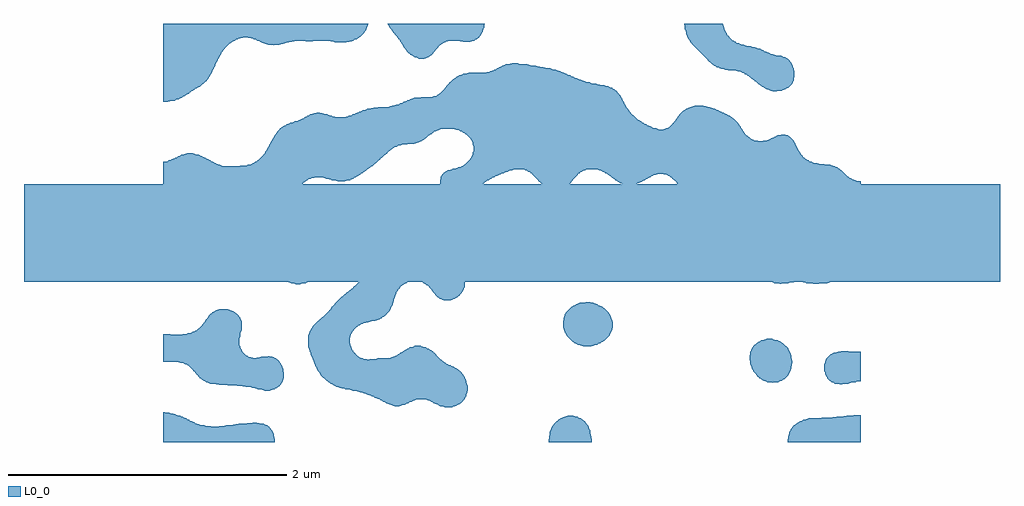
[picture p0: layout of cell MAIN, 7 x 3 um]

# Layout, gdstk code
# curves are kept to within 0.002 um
import gdstk
lib = gdstk.Library(unit=1e-6, precision=1e-09)
def R(c, l, rs):  # rectangles x0, y0, x1, y1
    for r in rs: c.add(gdstk.rectangle(r[:2], r[2:], *l))
def P(c, l, *ps):  # polygons
    for p in ps: c.add(gdstk.Polygon(p, *l))
L0_0 = (0, 0)

main = lib.new_cell('MAIN')
R(main, L0_0, [(-3.5,-0.35,3.5,0.35)])
P(main, L0_0, [(-2.47,0.942),(-2.418,0.95),(-2.37,0.969),(-2.28,1.028),(-2.24,1.05),(-2.214,1.07),(-2.19,1.093),(-2.17,1.119),(-2.14,1.177),(-2.108,1.25),(-2.085,1.29),(-2.063,1.32),(-2.04,1.345),(-2.01,1.369),(-1.98,1.387),(-1.96,1.395),(-1.92,1.403),(-1.87,1.398),(-1.84,1.388),(-1.781,1.36),(-1.748,1.35),(-1.71,1.348),(-1.674,1.35),(-1.61,1.367),(-1.55,1.378),(-1.32,1.379),(-1.27,1.369),(-1.21,1.367),(-1.168,1.37),(-1.115,1.39),(-1.084,1.41),(-1.05,1.451),(-1.03,1.5),(-2.5,1.5),(-2.5,0.94)],
  [(-0.63,1.25),(-0.6,1.26),(-0.587,1.27),(-0.52,1.342),(-0.49,1.366),(-0.47,1.374),(-0.45,1.379),(-0.42,1.38),(-0.37,1.377),(-0.341,1.37),(-0.308,1.37),(-0.27,1.38),(-0.24,1.4),(-0.22,1.427),(-0.2,1.471),(-0.196,1.5),(-0.891,1.5),(-0.881,1.48),(-0.86,1.45),(-0.803,1.38),(-0.78,1.34),(-0.74,1.29),(-0.696,1.26),(-0.666,1.25)],
  [(1.92,1.019),(1.934,1.02),(1.98,1.04),(2.009,1.07),(2.02,1.092),(2.024,1.13),(2.02,1.18),(2.014,1.19),(2.01,1.208),(2,1.224),(1.99,1.238),(1.976,1.25),(1.961,1.26),(1.932,1.27),(1.86,1.283),(1.81,1.304),(1.8,1.311),(1.79,1.313),(1.78,1.32),(1.76,1.325),(1.752,1.33),(1.64,1.353),(1.629,1.36),(1.61,1.366),(1.57,1.392),(1.545,1.42),(1.524,1.46),(1.513,1.5),(1.237,1.5),(1.24,1.462),(1.25,1.426),(1.26,1.401),(1.28,1.369),(1.416,1.23),(1.451,1.2),(1.49,1.18),(1.532,1.17),(1.6,1.166),(1.64,1.157),(1.68,1.137),(1.779,1.06),(1.828,1.03),(1.86,1.019)],
  [(-2.31,-0.087),(-2.284,-0.08),(-2.259,-0.06),(-2.24,-0.033),(-2.225,0),(-2.207,0.03),(-2.18,0.055),(-2.16,0.065),(-2.14,0.069),(-2.1,0.069),(-2.05,0.059),(-1.995,0.06),(-1.97,0.069),(-1.95,0.082),(-1.89,0.134),(-1.87,0.145),(-1.83,0.153),(-1.79,0.145),(-1.76,0.126),(-1.741,0.106),(-1.741,0.63),(-1.762,0.59),(-1.782,0.56),(-1.82,0.522),(-1.83,0.514),(-1.87,0.494),(-1.91,0.484),(-2.01,0.477),(-2.08,0.483),(-2.13,0.501),(-2.222,0.55),(-2.25,0.561),(-2.29,0.571),(-2.341,0.57),(-2.373,0.56),(-2.4,0.545),(-2.47,0.515),(-2.5,0.511),(-2.5,-0.011),(-2.48,-0.013),(-2.45,-0.023),(-2.41,-0.044),(-2.39,-0.06),(-2.356,-0.08),(-2.33,-0.087)],
  [(-1.52,-0.366),(-1.479,-0.36),(-1.447,-0.346),(-1.447,0.008),(-1.46,0.05),(-1.47,0.07),(-1.49,0.098),(-1.536,0.15),(-1.547,0.17),(-1.557,0.2),(-1.558,0.23),(-1.556,0.25),(-1.55,0.263),(-1.547,0.28),(-1.528,0.32),(-1.496,0.36),(-1.46,0.385),(-1.447,0.389),(-1.447,0.85),(-1.51,0.816),(-1.529,0.81),(-1.54,0.803),(-1.558,0.8),(-1.57,0.793),(-1.59,0.79),(-1.614,0.78),(-1.648,0.76),(-1.68,0.73),(-1.72,0.67),(-1.741,0.63),(-1.741,0.106),(-1.724,0.08),(-1.713,0.05),(-1.704,0),(-1.703,-0.06),(-1.71,-0.1),(-1.713,-0.16),(-1.71,-0.214),(-1.69,-0.267),(-1.67,-0.298),(-1.64,-0.33),(-1.609,-0.35),(-1.585,-0.36),(-1.54,-0.367)],
  [(-1.447,-0.701),(-1.45,-0.705),(-1.453,-0.72),(-1.46,-0.734),(-1.462,-0.76),(-1.46,-0.818),(-1.454,-0.83),(-1.45,-0.852),(-1.447,-0.857)],
  [(-1.2,0.371),(-1.187,0.375),(-1.187,0.833),(-1.22,0.83),(-1.27,0.832),(-1.364,0.86),(-1.416,0.86),(-1.447,0.85),(-1.447,0.389),(-1.42,0.398),(-1.37,0.399),(-1.35,0.397),(-1.292,0.38),(-1.242,0.37)],
  [(-1.44,-0.342),(-1.43,-0.34),(-1.4,-0.321),(-1.36,-0.282),(-1.351,-0.27),(-1.34,-0.246),(-1.336,-0.21),(-1.34,-0.17),(-1.347,-0.16),(-1.35,-0.148),(-1.415,-0.06),(-1.437,-0.02),(-1.44,-0.005),(-1.447,0.008),(-1.447,-0.346)],
  [(-1.187,-0.43),(-1.224,-0.46),(-1.26,-0.495),(-1.313,-0.56),(-1.342,-0.59),(-1.391,-0.63),(-1.421,-0.66),(-1.43,-0.67),(-1.447,-0.701),(-1.447,-0.857),(-1.42,-0.931),(-1.391,-0.99),(-1.361,-1.03),(-1.341,-1.05),(-1.301,-1.08),(-1.263,-1.1),(-1.236,-1.11),(-1.21,-1.114),(-1.19,-1.121),(-1.187,-1.121)],
  [(-1.18,0.377),(-1.161,0.38),(-1.119,0.4),(-1.03,0.46),(-1.01,0.477),(-1.01,0.893),(-1.038,0.89),(-1.05,0.884),(-1.071,0.88),(-1.08,0.874),(-1.142,0.85),(-1.15,0.844),(-1.187,0.833),(-1.187,0.375)],
  [(-1.01,-0.907),(-1.06,-0.905),(-1.1,-0.888),(-1.12,-0.87),(-1.144,-0.84),(-1.158,-0.81),(-1.165,-0.77),(-1.158,-0.73),(-1.147,-0.71),(-1.11,-0.671),(-1.08,-0.652),(-1.069,-0.65),(-1.06,-0.644),(-1.032,-0.64),(-1.01,-0.633),(-1.01,0.07),(-1.048,0.03),(-1.06,0.011),(-1.07,-0.017),(-1.073,-0.06),(-1.07,-0.11),(-1.065,-0.12),(-1.06,-0.152),(-1.053,-0.17),(-1.045,-0.23),(-1.053,-0.28),(-1.072,-0.32),(-1.096,-0.35),(-1.12,-0.375),(-1.187,-0.43),(-1.187,-1.121),(-1.12,-1.132),(-1.1,-1.14),(-1.05,-1.152),(-1.01,-1.168)],
  [(-1.004,0.48),(-0.86,0.604),(-0.82,0.626),(-0.761,0.638),(-0.761,0.945),(-0.81,0.924),(-0.85,0.912),(-0.91,0.902),(-0.98,0.9),(-1.01,0.893),(-1.01,0.477)],
  [(-0.99,-0.631),(-0.953,-0.62),(-0.934,-0.61),(-0.92,-0.601),(-0.89,-0.572),(-0.88,-0.56),(-0.86,-0.523),(-0.838,-0.45),(-0.819,-0.41),(-0.79,-0.378),(-0.77,-0.363),(-0.761,-0.36),(-0.761,0.072),(-0.82,0.073),(-0.86,0.082),(-0.878,0.09),(-0.93,0.096),(-0.972,0.09),(-1.01,0.07),(-1.01,-0.633)],
  [(-0.8,-1.24),(-0.761,-1.227),(-0.761,-0.836),(-0.82,-0.874),(-0.85,-0.888),(-0.88,-0.897),(-0.964,-0.9),(-1.01,-0.907),(-1.01,-1.168),(-0.97,-1.184),(-0.882,-1.23),(-0.85,-1.24)],
  [(-0.76,0.638),(-0.7,0.64),(-0.668,0.65),(-0.619,0.68),(-0.56,0.725),(-0.514,0.744),(-0.514,1.002),(-0.54,0.984),(-0.57,0.976),(-0.6,0.973),(-0.65,0.975),(-0.701,0.97),(-0.761,0.945)],
  [(-0.514,0.38),(-0.516,0.36),(-0.516,0.35),(-0.514,0.33)],
  [(-0.75,-0.353),(-0.72,-0.344),(-0.69,-0.342),(-0.64,-0.354),(-0.602,-0.38),(-0.574,-0.41),(-0.55,-0.442),(-0.532,-0.46),(-0.514,-0.472),(-0.514,0.26),(-0.526,0.22),(-0.553,0.17),(-0.57,0.15),(-0.61,0.113),(-0.65,0.093),(-0.69,0.083),(-0.761,0.072),(-0.761,-0.36)],
  [(-0.514,-0.905),(-0.581,-0.84),(-0.62,-0.819),(-0.654,-0.81),(-0.696,-0.81),(-0.732,-0.82),(-0.761,-0.836),(-0.761,-1.227),(-0.71,-1.203),(-0.68,-1.193),(-0.64,-1.191),(-0.62,-1.193),(-0.59,-1.203),(-0.514,-1.241)],
  [(-0.35,1.141),(-0.398,1.12),(-0.437,1.09),(-0.495,1.02),(-0.514,1.002),(-0.514,0.744),(-0.49,0.749),(-0.42,0.747),(-0.38,0.737),(-0.37,0.73),(-0.36,0.728),(-0.35,0.72)],
  [(-0.46,-0.482),(-0.433,-0.48),(-0.409,-0.47),(-0.38,-0.45),(-0.36,-0.428),(-0.35,-0.412),(-0.35,-0.311),(-0.37,-0.285),(-0.414,-0.24),(-0.438,-0.21),(-0.455,-0.17),(-0.458,-0.15),(-0.457,-0.12),(-0.448,-0.09),(-0.438,-0.07),(-0.426,-0.05),(-0.37,0.02),(-0.35,0.054),(-0.35,0.483),(-0.4,0.463),(-0.426,0.46),(-0.46,0.45),(-0.479,0.44),(-0.5,0.42),(-0.511,0.4),(-0.514,0.38),(-0.514,-0.472),(-0.497,-0.48)],
  [(-0.44,-1.25),(-0.401,-1.24),(-0.368,-1.22),(-0.35,-1.203),(-0.35,-1.016),(-0.37,-0.993),(-0.4,-0.97),(-0.47,-0.938),(-0.514,-0.905),(-0.514,-1.241),(-0.483,-1.25)],
  [(-0.348,0.06),(-0.33,0.102),(-0.327,0.12),(-0.32,0.136),(-0.317,0.16),(-0.31,0.175),(-0.306,0.2),(-0.288,0.25),(-0.267,0.29),(-0.244,0.32),(-0.22,0.344),(-0.16,0.386),(-0.05,0.436),(0.03,0.458),(0.07,0.458),(0.095,0.45),(0.095,1.211),(0.02,1.219),(0,1.218),(-0.044,1.21),(-0.069,1.2),(-0.08,1.192),(-0.14,1.163),(-0.17,1.154),(-0.22,1.15),(-0.302,1.15),(-0.35,1.141),(-0.35,0.72),(-0.34,0.717),(-0.33,0.709),(-0.293,0.67),(-0.283,0.65),(-0.274,0.61),(-0.275,0.59),(-0.283,0.56),(-0.292,0.54),(-0.32,0.506),(-0.35,0.483),(-0.35,0.054)],
  [(-0.349,-0.41),(-0.347,-0.4),(-0.34,-0.388),(-0.338,-0.36),(-0.339,-0.34),(-0.348,-0.32),(-0.35,-0.311),(-0.35,-0.412)],
  [(-0.348,-1.2),(-0.33,-1.174),(-0.32,-1.144),(-0.319,-1.1),(-0.33,-1.054),(-0.35,-1.016),(-0.35,-1.203)],
  [(0.33,0.31),(0.368,0.32),(0.399,0.34),(0.42,0.36),(0.46,0.408),(0.49,0.434),(0.51,0.446),(0.54,0.457),(0.56,0.459),(0.6,0.458),(0.64,0.447),(0.68,0.427),(0.742,0.38),(0.774,0.36),(0.796,0.35),(0.81,0.348),(0.81,0.924),(0.783,0.97),(0.78,0.98),(0.75,1.016),(0.72,1.039),(0.695,1.05),(0.658,1.06),(0.62,1.064),(0.603,1.07),(0.57,1.074),(0.558,1.08),(0.53,1.085),(0.522,1.09),(0.48,1.102),(0.371,1.15),(0.314,1.17),(0.274,1.18),(0.24,1.184),(0.225,1.19),(0.19,1.194),(0.172,1.2),(0.095,1.211),(0.095,0.45),(0.11,0.446),(0.14,0.427),(0.21,0.356),(0.243,0.33),(0.261,0.32),(0.295,0.31)],
  [(0.86,0.346),(0.89,0.35),(0.953,0.38),(1,0.408),(1.02,0.417),(1.05,0.425),(1.08,0.425),(1.11,0.417),(1.13,0.407),(1.167,0.377),(1.167,0.8),(1.13,0.762),(1.12,0.754),(1.1,0.746),(1.06,0.742),(1.02,0.752),(0.95,0.784),(0.89,0.823),(0.843,0.87),(0.822,0.9),(0.81,0.924),(0.81,0.348),(0.84,0.344)],
  [(1.167,0.129),(1.16,0.122),(1.14,0.112),(1.12,0.105),(1.1,0.104),(1.06,0.112),(0.993,0.14),(0.95,0.142),(0.93,0.139),(0.911,0.13),(0.9,0.121),(0.881,0.1),(0.87,0.08),(0.863,0.04),(0.87,-0.005),(0.894,-0.04),(0.918,-0.06),(0.937,-0.07),(1.05,-0.104),(1.116,-0.14),(1.159,-0.16),(1.167,-0.161)],
  [(1.8,0.659),(1.78,0.657),(1.75,0.661),(1.72,0.672),(1.7,0.685),(1.674,0.71),(1.62,0.789),(1.589,0.82),(1.561,0.84),(1.53,0.854),(1.523,0.86),(1.427,0.9),(1.41,0.902),(1.386,0.91),(1.3,0.91),(1.269,0.9),(1.235,0.88),(1.21,0.858),(1.179,0.82),(1.167,0.8),(1.167,0.377),(1.207,0.33),(1.218,0.31),(1.227,0.28),(1.229,0.25),(1.227,0.23),(1.208,0.18),(1.188,0.15),(1.167,0.129),(1.167,-0.161),(1.184,-0.17),(1.2,-0.173),(1.211,-0.18),(1.23,-0.184),(1.24,-0.19),(1.339,-0.22),(1.48,-0.232),(1.52,-0.244),(1.528,-0.25),(1.559,-0.26),(1.6,-0.264),(1.68,-0.262),(1.7,-0.265),(1.75,-0.283),(1.8,-0.314)],
  [(2.23,-0.362),(2.262,-0.36),(2.296,-0.35),(2.339,-0.33),(2.41,-0.284),(2.47,-0.263),(2.5,-0.259),(2.5,0.042),(2.48,0.053),(2.462,0.07),(2.454,0.08),(2.445,0.11),(2.445,0.12),(2.452,0.14),(2.47,0.161),(2.49,0.177),(2.5,0.18),(2.5,0.37),(2.48,0.372),(2.43,0.391),(2.4,0.411),(2.348,0.46),(2.315,0.48),(2.281,0.49),(2.21,0.494),(2.16,0.504),(2.12,0.522),(2.1,0.536),(2.076,0.56),(2.056,0.59),(2.02,0.661),(1.992,0.69),(1.976,0.7),(1.96,0.703),(1.94,0.705),(1.906,0.7),(1.83,0.664),(1.8,0.659),(1.8,-0.314),(1.838,-0.34),(1.88,-0.36),(1.93,-0.364),(1.98,-0.36),(2.01,-0.352),(2.07,-0.351),(2.1,-0.355),(2.114,-0.36),(2.16,-0.364),(2.2,-0.365)],
  [(0.59,-0.25),(0.618,-0.24),(0.633,-0.23),(0.65,-0.215),(0.67,-0.19),(0.68,-0.169),(0.687,-0.13),(0.686,-0.11),(0.68,-0.083),(0.67,-0.065),(0.65,-0.04),(0.599,0),(0.559,0.02),(0.505,0.03),(0.4,0.031),(0.336,0.04),(0.287,0.04),(0.17,0.024),(0.07,0.027),(0.018,0.02),(-0.006,0.01),(-0.047,-0.02),(-0.07,-0.05),(-0.08,-0.073),(-0.083,-0.1),(-0.081,-0.14),(-0.07,-0.166),(-0.061,-0.18),(-0.03,-0.21),(0.015,-0.23),(0.083,-0.23),(0.11,-0.221),(0.17,-0.193),(0.21,-0.184),(0.24,-0.183),(0.39,-0.203),(0.522,-0.25)],
  [(-2.02,-0.26),(-2,-0.243),(-1.996,-0.23),(-2,-0.203),(-2.01,-0.192),(-2.02,-0.188),(-2.04,-0.185),(-2.06,-0.19),(-2.07,-0.2),(-2.078,-0.22),(-2.07,-0.247),(-2.05,-0.261)],
  [(0.56,-0.811),(0.581,-0.81),(0.634,-0.79),(0.664,-0.77),(0.69,-0.745),(0.71,-0.714),(0.72,-0.687),(0.72,-0.629),(0.71,-0.6),(0.691,-0.57),(0.661,-0.54),(0.631,-0.52),(0.582,-0.5),(0.53,-0.495),(0.49,-0.499),(0.442,-0.52),(0.416,-0.54),(0.39,-0.568),(0.37,-0.608),(0.367,-0.64),(0.37,-0.688),(0.38,-0.713),(0.4,-0.744),(0.425,-0.77),(0.451,-0.79),(0.47,-0.8),(0.5,-0.81)],
  [(-1.97,-0.584),(-2.003,-0.56),(-2.027,-0.55),(-2.06,-0.546),(-2.112,-0.55),(-2.133,-0.56),(-2.16,-0.58),(-2.221,-0.66),(-2.25,-0.688),(-2.28,-0.708),(-2.291,-0.71),(-2.3,-0.716),(-2.35,-0.727),(-2.5,-0.726),(-2.5,-0.924),(-2.4,-0.924),(-2.36,-0.932),(-2.33,-0.945),(-2.29,-0.98),(-2.239,-1.04),(-2.194,-1.07),(-2.164,-1.08),(-2.12,-1.084),(-2.092,-1.09),(-1.97,-1.094)],
  [(-1.73,-1.127),(-1.703,-1.12),(-1.672,-1.1),(-1.65,-1.073),(-1.64,-1.052),(-1.636,-1.01),(-1.64,-0.975),(-1.65,-0.95),(-1.67,-0.92),(-1.693,-0.9),(-1.71,-0.89),(-1.75,-0.884),(-1.809,-0.89),(-1.83,-0.896),(-1.86,-0.896),(-1.89,-0.887),(-1.91,-0.875),(-1.927,-0.86),(-1.947,-0.83),(-1.957,-0.79),(-1.956,-0.76),(-1.94,-0.696),(-1.939,-0.64),(-1.95,-0.609),(-1.97,-0.584),(-1.97,-1.094),(-1.88,-1.103),(-1.862,-1.11),(-1.774,-1.13),(-1.738,-1.13)],
  [(1.91,-1.07),(1.934,-1.06),(1.96,-1.042),(1.981,-1.02),(2,-0.983),(2.009,-0.93),(2,-0.868),(1.99,-0.845),(1.97,-0.816),(1.942,-0.79),(1.905,-0.77),(1.866,-0.76),(1.85,-0.759),(1.826,-0.76),(1.79,-0.769),(1.768,-0.78),(1.74,-0.802),(1.719,-0.83),(1.717,-0.84),(1.71,-0.851),(1.706,-0.91),(1.71,-0.943),(1.72,-0.97),(1.73,-0.989),(1.76,-1.026),(1.788,-1.05),(1.805,-1.06),(1.829,-1.07),(1.87,-1.074)],
  [(2.41,-1.08),(2.5,-1.062),(2.5,-0.853),(2.41,-0.849),(2.344,-0.85),(2.306,-0.86),(2.287,-0.87),(2.26,-0.896),(2.25,-0.911),(2.24,-0.943),(2.24,-0.988),(2.25,-1.021),(2.269,-1.05),(2.293,-1.07),(2.314,-1.08),(2.35,-1.084)],
  [(-1.7,-1.487),(-1.71,-1.44),(-1.72,-1.418),(-1.742,-1.39),(-1.776,-1.37),(-1.83,-1.36),(-1.86,-1.36),(-1.977,-1.37),(-2,-1.376),(-2.051,-1.38),(-2.09,-1.387),(-2.15,-1.388),(-2.19,-1.385),(-2.206,-1.38),(-2.23,-1.378),(-2.247,-1.37),(-2.26,-1.368),(-2.382,-1.31),(-2.457,-1.29),(-2.5,-1.287),(-2.5,-1.5),(-1.7,-1.5)],
  [(2.5,-1.306),(2.408,-1.31),(2.38,-1.316),(2.27,-1.325),(2.14,-1.329),(2.089,-1.34),(2.066,-1.35),(2.034,-1.37),(2.02,-1.382),(2,-1.408),(1.99,-1.428),(1.98,-1.459),(1.977,-1.5),(2.5,-1.5)],
  [(0.571,-1.48),(0.561,-1.42),(0.55,-1.39),(0.52,-1.35),(0.473,-1.32),(0.44,-1.31),(0.405,-1.31),(0.368,-1.32),(0.348,-1.33),(0.32,-1.35),(0.3,-1.371),(0.28,-1.405),(0.27,-1.434),(0.264,-1.5),(0.571,-1.5)])

lib.write_gds('MAIN.gds')
